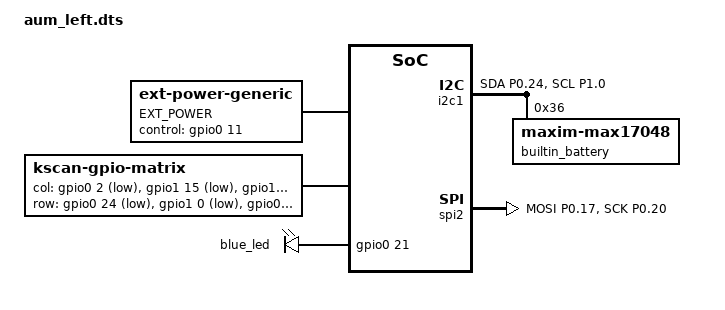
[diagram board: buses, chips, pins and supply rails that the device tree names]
#include "aum.dtsi"
#include <dt-bindings/led/led.h>

/ {
	EXT_POWER {
		compatible = "zmk,ext-power-generic";
		control-gpios = <&gpio0 11 GPIO_ACTIVE_HIGH>;
		init-delay-ms = <50>;
	};
};

&pinctrl {
    i2c1_default: i2c1_default {
        group1 {
            psels = <NRF_PSEL(TWIM_SDA, 0, 24)>,
	    <NRF_PSEL(TWIM_SCL, 1, 0)>;
	    bias-pull-up;
        };
    };

    i2c1_sleep: i2c1_sleep {
        group1 {
            psels = <NRF_PSEL(TWIM_SDA, 0, 24)>,
	    <NRF_PSEL(TWIM_SCL, 1, 0)>;
            low-power-enable;
	    bias-pull-up;
        };
    };

    spi2_default: spi2_default {
				group1 {
				psels = <NRF_PSEL(SPIM_MOSI, 0, 17)>,
				<NRF_PSEL(SPIM_SCK, 0, 20)>;
				};
		};
	
    spi2_sleep: spi2_sleep {
				group1 {
					psels = <NRF_PSEL(SPIM_MOSI, 0, 17)>,
					<NRF_PSEL(SPIM_SCK,0, 20)>;
					low-power-enable;
				};
		};
};


&i2c1 {
	compatible = "nordic,nrf-twi";
	pinctrl-0 = <&i2c1_default>;
	pinctrl-1 = <&i2c1_sleep>;
	pinctrl-names = "default", "sleep"; 
	

	builtin_battery: max17048@36 {
		compatible = "zmk,maxim-max17048";
		status = "okay";
		reg = <0x36>;
	};

	status = "okay";
};

lpm_view_spi: &spi2 {
    compatible = "nordic,nrf-spim";
    pinctrl-0 = <&spi2_default>;
    pinctrl-1 = <&spi2_sleep>;
    pinctrl-names = "default", "sleep";
    cs-gpios = <&gpio0 6 (GPIO_ACTIVE_HIGH | GPIO_PULL_DOWN) >;
};

nice_view_spi: &spi2 {
    compatible = "nordic,nrf-spim";
    pinctrl-0 = <&spi2_default>;
    pinctrl-1 = <&spi2_sleep>;
    pinctrl-names = "default", "sleep";
    cs-gpios = <&gpio0 6 (GPIO_ACTIVE_HIGH | GPIO_PULL_DOWN) >;
};

/ {
	chosen {
		zmk,battery = &builtin_battery;
    		zmk,kscan = &kscan0;
	};
	kscan0: kscan {
        compatible = "zmk,kscan-gpio-matrix";
        label = "KSCAN";

        diode-direction = "col2row";
        col-gpios
	    = <&gpio0  2 (GPIO_ACTIVE_LOW | GPIO_PULL_UP)> 
	    , <&gpio1  15 (GPIO_ACTIVE_LOW | GPIO_PULL_UP)> 
  	    , <&gpio1  13 (GPIO_ACTIVE_LOW | GPIO_PULL_UP)> 
	    , <&gpio1  11 (GPIO_ACTIVE_LOW | GPIO_PULL_UP)> 
	    , <&gpio0  10 (GPIO_ACTIVE_LOW | GPIO_PULL_UP)> 
	    , <&gpio0  9 (GPIO_ACTIVE_LOW | GPIO_PULL_UP)> 
	    ;
        row-gpios
	    = <&gpio0  24 (GPIO_ACTIVE_LOW | GPIO_PULL_UP)> 
	    , <&gpio1  0 (GPIO_ACTIVE_LOW | GPIO_PULL_UP)> 
  	    , <&gpio0  11 (GPIO_ACTIVE_LOW | GPIO_PULL_UP)> 
	    , <&gpio1  4 (GPIO_ACTIVE_LOW | GPIO_PULL_UP)> 
	    , <&gpio1  6 (GPIO_ACTIVE_LOW | GPIO_PULL_UP)> 
	    ;
    };

	leds {
		compatible = "gpio-leds";
		blue_led: led_0 {
			gpios = <&gpio0 21 GPIO_ACTIVE_HIGH>;
		};
	};
};
